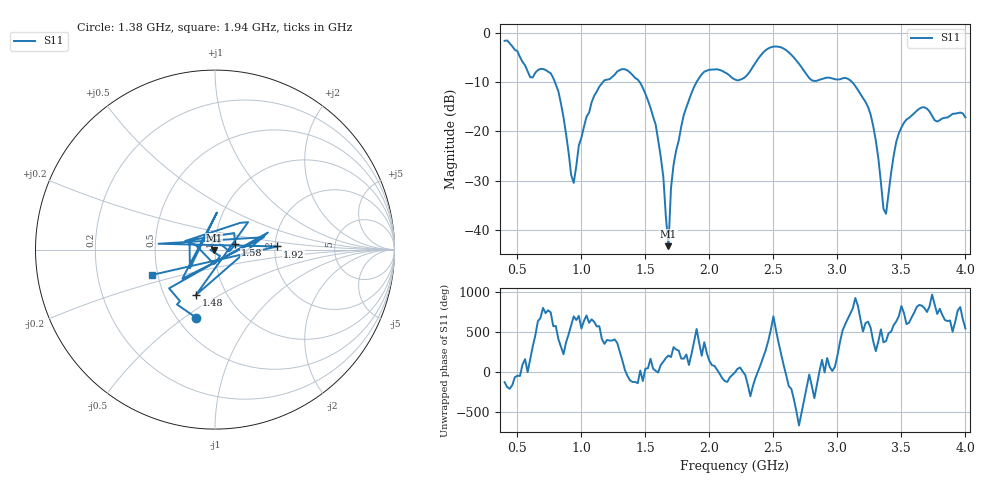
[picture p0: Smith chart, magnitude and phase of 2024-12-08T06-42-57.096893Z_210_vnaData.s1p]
!Created with skrf (http://scikit-rf.org).
# Hz S RI R 50.0
!freq ReS11 ImS11
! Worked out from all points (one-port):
!   181 points, 400 MHz to 4 GHz, reference 50 ohm
!   lowest |S11| = -43.3 dB at 1.68 GHz (marker M1), VSWR 1.01, Z = 49.4 - j0.275 ohm
!   |S11| at or under -10 dB: 792.4 MHz to 1.169 GHz (376.7 MHz wide, 38.4 % of centre); 1.455 GHz to 1.9 GHz (445.4 MHz wide, 26.6 % of centre); 3.114 GHz to end of sweep
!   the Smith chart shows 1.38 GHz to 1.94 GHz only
!   S11 on the Smith chart (normalised r, x): 1.38 GHz: 0.62, -0.56; 1.48 GHz: 0.72, -0.39; 1.58 GHz: 1.25, +0.07; 1.92 GHz: 2.06, +0.08; 1.94 GHz: 0.46, -0.15
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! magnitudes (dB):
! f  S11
! 400 MHz  -1.6
! 600 MHz  -9.0
! 760 MHz  -8.2
! 860 MHz  -17.1
! 940 MHz  -30.5
! 980 MHz  -22.9
! 1.1 GHz  -12.8
! 1.3 GHz  -7.6
! 1.38 GHz  -8.1
! 1.48 GHz  -11.2
! 1.58 GHz  -18.6
! 1.64 GHz  -29.2
! 1.68 GHz  -43.3
! 1.7 GHz  -31.5
! 1.76 GHz  -21.9
! 1.92 GHz  -9.2
! 1.94 GHz  -8.4
! 2.2 GHz  -9.5
! 2.48 GHz  -3.0
! 2.66 GHz  -5.0
! 2.8 GHz  -9.7
! 3.1 GHz  -9.7
! 3.26 GHz  -16.6
! 3.36 GHz  -35.8
! 3.38 GHz  -36.7
! 3.46 GHz  -22.1
! 3.56 GHz  -17.3
! 4 GHz  -17.2
